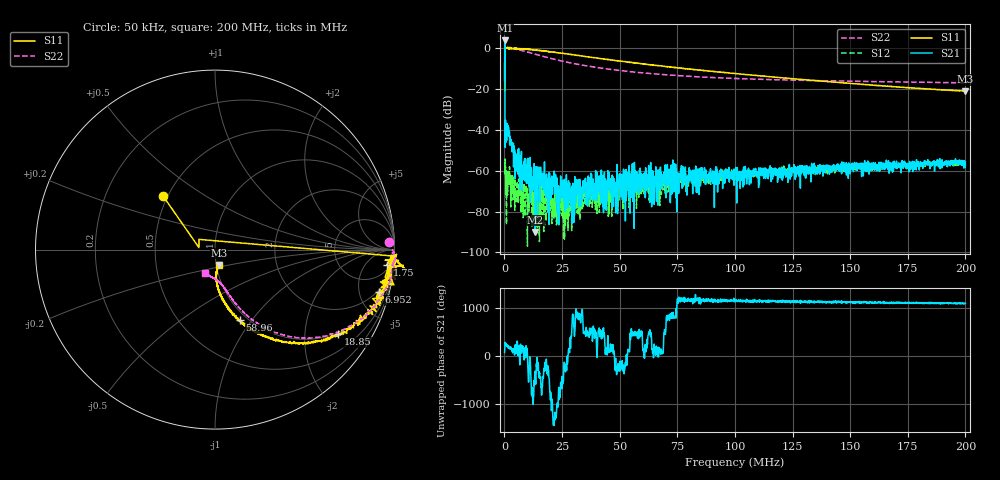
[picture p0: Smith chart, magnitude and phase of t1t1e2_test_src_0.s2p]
! 27-Aug-26 2:13:12 PM
! E:\20260827_VNA\T1T1E2_TEST_SRC.S2P
! CHANNEL.1
! TR.MEASUREMENT
! CORRECTED.DATA
# GHZ S RI R 50.0
! FREQ.GHZ  S11RE  S11IM  S21RE  S21IM  S12RE  S12IM  S22RE  S22IM
!; PortSelection: Port_12
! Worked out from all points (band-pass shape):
!   2000 points, 50 kHz to 200 MHz, reference 50 ohm
!   highest |S21| = 3.75 dB at 150 kHz (marker M1); lowest = -90.0 dB at 13.35 MHz (marker M2)
!   |S21| within 3 dB of the highest: 134.7 kHz to 155.8 kHz (21.02 kHz wide, 14.5 % of centre)
!   lowest |S11| = -21.1 dB at 200 MHz (marker M3), VSWR 1.19, Z = 51.5 - j8.87 ohm
!   |S11| at or under -10 dB: 67.7 kHz to 299.2 kHz (231.5 kHz wide, 126 % of centre); 78.03 MHz to end of sweep
!   |S22| runs from -17.0 to 0.1 dB; largest |S21 - S12| = 1.5
!   S11 on the Smith chart (normalised r, x): 50 kHz: 0.47, +0.34; 1.75 MHz: 8, -19; 6.952 MHz: 1.73, -7.50; 18.85 MHz: 0.97, -2.93; 58.96 MHz: 0.92, -0.88; 200 MHz: 1.03, -0.18
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5e-05  -0.2884 0.2973  0.0562 0.1507  -0.000687 0.000672  0.9678 0.0438
0.000150025  -0.0895 0.0113  -1.539 -0.0769  0.000772 -0.000325  0.9965 -0.0181
0.0012503  0.9868 -0.0376  -0.0118 -0.00555  -0.00019 -0.000631  0.9989 -0.099
0.001750425  0.9592 -0.0858  -0.0115 -0.00191  0.000245 -0.000387  0.9866 -0.1228
0.004851201  0.9358 -0.176  -0.00102 -0.00121  0.000189 0.000118  0.8873 -0.3166
0.006951726  0.9142 -0.2353  -0.000395 -0.000782  0.000168 5.85e-05  0.7946 -0.4004
0.01335333  0.8032 -0.3923  1.93e-05 -2.52e-05  0.000156 7.78e-05  0.5125 -0.493
0.01665415  0.7382 -0.4494  0.00013 -0.000654  -0.000138 8.77e-05  0.4071 -0.4818
0.0188547  0.6841 -0.4693  -0.000208 0.000331  -3.3e-05 9.18e-05  0.353 -0.4674
0.02135533  0.6242 -0.5007  -0.000262 0.000333  -7.54e-05 -2.19e-05  0.3007 -0.4452
0.0232558  0.5661 -0.5115  -0.000108 0.000364  -0.000159 7.57e-05  0.2677 -0.4288
0.03345835  0.3851 -0.5135  -0.000376 5.14e-05  -0.000204 0.000139  0.1616 -0.3514
0.04106025  0.2851 -0.4856  -0.000389 -0.000353  -8.27e-05 0.000303  0.1195 -0.3077
0.04376093  0.2548 -0.4761  0.000544 0.000325  -4.07e-05 0.000353  0.11 -0.2948
0.04536133  0.2386 -0.4679  3.5e-05 0.000933  9.03e-05 0.000491  0.1041 -0.287
0.04816203  0.2144 -0.4509  -6.26e-05 -0.00038  -0.000376 0.000381  0.0956 -0.2756
0.05896473  0.1378 -0.3928  -0.000794 0.000529  -0.000178 0.000525  0.0712 -0.2416
0.06676668  0.1006 -0.3622  0.000367 0.000163  -0.000144 0.000791  0.0586 -0.2226
0.100075  0.0243 -0.2378  0.000476 0.000922  0.000161 0.000785  0.0229 -0.1797
0.1333833  0.00738 -0.1626  0.000555 0.000748  0.000814 0.000639  -0.00411 -0.1616
0.1666917  0.0101 -0.1153  0.00122 0.000628  0.00142 0.000766  -0.0299 -0.1478
0.2  0.0227 -0.0854  0.00139 0.000437  0.00168 0.000369  -0.0554 -0.1305
